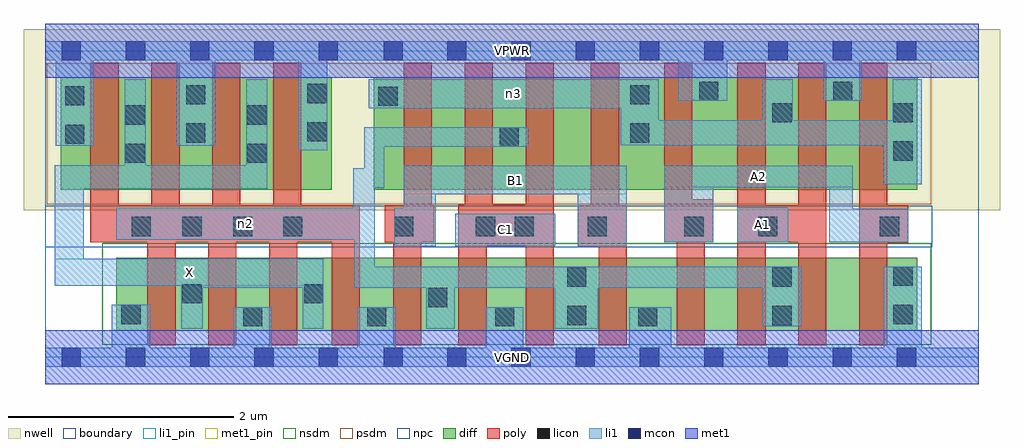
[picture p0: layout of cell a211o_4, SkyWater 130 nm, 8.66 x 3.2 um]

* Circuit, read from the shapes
.subckt a211o_4 A1 A2 B1 C1 VGND VPWR X n2 n3
XM1 X n2 VGND VSUBS sky130_fd_pr__nfet_01v8 w=0.65 l=0.25 m=4
XM2 n2 B1 VGND VSUBS sky130_fd_pr__nfet_01v8 w=0.65 l=0.25 m=2
XM3 VGND C1 n2 VSUBS sky130_fd_pr__nfet_01v8 w=0.65 l=0.25 m=2
XM4 n1 A2 VGND VSUBS sky130_fd_pr__nfet_01v8 w=0.65 l=0.25
XM5 n2 A1 n1 VSUBS sky130_fd_pr__nfet_01v8 w=0.65 l=0.25
XM6 n4 A1 n2 VSUBS sky130_fd_pr__nfet_01v8 w=0.65 l=0.25
XM7 VGND A2 n4 VSUBS sky130_fd_pr__nfet_01v8 w=0.65 l=0.25
XM8 X n2 VPWR n5 sky130_fd_pr__pfet_01v8 w=1 l=0.25 m=4
XM9 n6 B1 n3 n5 sky130_fd_pr__pfet_01v8 w=1 l=0.25
XM10 n2 C1 n6 n5 sky130_fd_pr__pfet_01v8 w=1 l=0.25
XM11 n7 C1 n2 n5 sky130_fd_pr__pfet_01v8 w=1 l=0.25
XM12 n3 B1 n7 n5 sky130_fd_pr__pfet_01v8 w=1 l=0.25
XM13 VPWR A2 n3 n5 sky130_fd_pr__pfet_01v8 w=1 l=0.25 m=2
XM14 n3 A1 VPWR n5 sky130_fd_pr__pfet_01v8 w=1 l=0.25 m=2
.ends

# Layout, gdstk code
import gdstk
lib = gdstk.Library(unit=1e-6, precision=1e-09)
def R(c, l, rs):  # rectangles x0, y0, x1, y1
    for r in rs: c.add(gdstk.rectangle(r[:2], r[2:], *l))
def A(c, l, x, y, w, h, nx, ny, dx, dy):  # array of equal rectangles
    R(c, l, [(x+i*dx, y+j*dy, x+i*dx+w, y+j*dy+h) for i in range(nx) for j in range(ny)])
nwell = (64, 20)
diff = (65, 20)
poly = (66, 20)
licon = (66, 44)
li1_pin = (67, 16)
li1 = (67, 20)
mcon = (67, 44)
met1_pin = (68, 16)
met1 = (68, 20)
nsdm = (93, 44)
psdm = (94, 20)
npc = (95, 20)
boundary = (235, 4)

a211o_4 = lib.new_cell('a211o_4')
R(a211o_4, nwell, [(-0.19,1.305,8.47,2.91), (0,1.305,8.28,2.91)])
R(a211o_4, diff, [(0.63,0.235,7.735,0.885), (0.135,1.485,2.54,2.485), (2.915,1.485,7.735,2.485)])
A(a211o_4, poly, 0.905, 0.105, 0.25, 1.245, 3, 1, 0.54, 0)
A(a211o_4, poly, 6.14, 0.105, 0.25, 2.51, 3, 1, 0.54, 0)
A(a211o_4, poly, 0.4, 1.02, 0.25, 1.595, 4, 1, 0.54, 0)
R(a211o_4, poly, [(2.54,0.105,2.79,1.35), (3.085,0.105,3.335,1.35), (3.665,0.105,3.915,1.355), (4.26,0.105,4.51,2.615), (4.91,0.105,5.16,1.35), (5.6,0.105,5.85,1.4), (4.725,0.985,5.16,1.35), (4.84,0.985,5.09,2.615), (3.665,0.99,4.51,1.355), (3.72,0.99,3.97,2.615), (7.22,1.01,7.655,1.35), (0.4,1.02,2.79,1.35), (3.01,1.02,3.45,1.35), (3.18,1.02,3.43,2.615), (5.49,1.02,5.74,2.615), (5.49,1.02,5.925,1.4), (6.14,1.02,6.93,1.35)])
A(a211o_4, licon, 0.765, 1.075, 0.17, 0.17, 3, 1, 0.45, 0)
R(a211o_4, licon, [(1.755,0.275,1.925,0.445), (2.855,0.275,3.025,0.445), (3.99,0.275,4.16,0.445), (5.26,0.275,5.43,0.445), (4.63,0.285,4.8,0.455), (6.45,0.285,6.62,0.455), (0.675,0.295,0.845,0.465), (7.525,0.295,7.695,0.465), (3.395,0.445,3.565,0.615), (1.215,0.48,1.385,0.65), (2.295,0.48,2.465,0.65), (4.63,0.625,4.8,0.795), (6.45,0.625,6.62,0.795), (7.525,0.635,7.695,0.805), (2.11,1.075,2.28,1.245), (3.095,1.075,3.265,1.245), (3.82,1.075,3.99,1.245), (4.165,1.075,4.335,1.245), (4.81,1.075,4.98,1.245), (5.67,1.075,5.84,1.245), (6.325,1.075,6.495,1.245), (7.405,1.075,7.575,1.245), (0.71,1.725,0.88,1.895), (1.79,1.725,1.96,1.895), (7.525,1.745,7.695,1.915), (4.03,1.87,4.2,2.04), (0.175,1.895,0.345,2.065), (1.25,1.905,1.42,2.075), (5.19,1.905,5.36,2.075), (2.325,1.915,2.495,2.085), (0.71,2.065,0.88,2.235), (1.79,2.065,1.96,2.235), (6.45,2.085,6.62,2.255), (7.525,2.085,7.695,2.255), (2.955,2.23,3.125,2.4), (0.175,2.235,0.345,2.405), (1.25,2.245,1.42,2.415), (5.19,2.245,5.36,2.415), (2.325,2.255,2.495,2.425), (5.8,2.275,5.97,2.445), (6.99,2.275,7.16,2.445)])
R(a211o_4, li1_pin, [(0.085,0.635,2.465,0.875), (3.635,0.985,4.525,1.275), (6.14,1.02,6.59,1.33), (3.18,1.445,5.16,1.7), (5.49,1.51,7.165,1.7)])
R(a211o_4, li1, [(0,-0.085,8.28,0.085), (0.59,-0.085,0.93,0.465), (1.67,-0.085,2.01,0.445), (2.765,-0.085,3.11,0.445), (3.905,-0.085,4.24,0.445), (5.18,-0.085,5.555,0.445), (7.44,-0.085,7.775,0.805), (1.205,0.255,1.395,0.875), (2.285,0.255,2.465,0.875), (3.38,0.255,3.63,0.805), (4.52,0.255,4.905,0.805), (6.365,0.275,6.705,0.805), (1.205,0.615,2.465,0.875), (2.74,0.615,6.705,0.805), (2.74,0.615,2.92,1.675), (0.085,0.635,2.465,0.875), (0.085,0.635,0.34,1.705), (3.095,0.985,3.465,1.325), (3.18,0.985,3.465,1.7), (3.635,0.985,4.525,1.275), (4.725,0.985,5.16,1.7), (5.49,1.02,5.925,1.7), (6.14,1.02,6.59,1.33), (6.955,1.02,7.655,1.32), (6.955,1.02,7.165,1.7), (0.63,1.045,2.92,1.325), (2.73,1.045,2.92,1.675), (3.18,1.445,5.16,1.7), (0.085,1.495,1.97,1.705), (0.705,1.495,0.89,2.465), (1.78,1.495,1.97,2.465), (2.83,1.505,3.005,2.04), (5.49,1.51,7.165,1.7), (7.44,1.535,7.775,2.105), (7.52,1.535,7.775,2.465), (2.245,1.835,2.5,2.805), (2.83,1.87,4.285,2.04), (0.09,1.875,0.43,2.805), (1.165,1.875,1.505,2.805), (5.105,1.88,7.775,2.105), (5.105,1.88,5.44,2.465), (6.365,1.88,6.63,2.465), (2.87,2.21,5.44,2.465), (5.615,2.275,6.05,2.805), (6.905,2.275,7.245,2.805), (0,2.635,8.28,2.805)])
A(a211o_4, mcon, 0.145, -0.085, 0.17, 0.17, 5, 2, 0.57, 2.72)
A(a211o_4, mcon, 3.565, -0.085, 0.17, 0.17, 8, 2, 0.57, 2.72)
R(a211o_4, mcon, [(3,-0.085,3.17,0.085), (3,2.635,3.17,2.805)])
R(a211o_4, met1_pin, [(0,-0.24,8.28,0.24), (0,2.48,8.28,2.96)])
R(a211o_4, met1, [(0,-0.24,8.28,0.24), (0,2.48,8.28,2.96)])
R(a211o_4, nsdm, [(0.505,0.11,7.86,1.01)])
R(a211o_4, psdm, [(0.01,1.36,7.86,2.61)])
R(a211o_4, npc, [(0,0.975,7.87,1.345)])
R(a211o_4, boundary, [(0,0,8.28,2.72)])
a211o_4.add(gdstk.Label('A1', (6.365,1.175), layer=67, texttype=5))
a211o_4.add(gdstk.Label('A2', (6.327,1.605), layer=67, texttype=5))
a211o_4.add(gdstk.Label('B1', (4.17,1.572), layer=67, texttype=5))
a211o_4.add(gdstk.Label('C1', (4.08,1.13), layer=67, texttype=5))
a211o_4.add(gdstk.Label('X', (1.275,0.755), layer=67, texttype=5))
a211o_4.add(gdstk.Label('n2', (1.775,1.185), layer=67, texttype=5))
a211o_4.add(gdstk.Label('n3', (4.155,2.337), layer=67, texttype=5))
a211o_4.add(gdstk.Label('VPWR', (4.14,2.72), layer=68, texttype=5))
a211o_4.add(gdstk.Label('VGND', (4.14,0), layer=68, texttype=5))
a211o_4.add(gdstk.Label('A1', (6.365,1.175), layer=67, texttype=16))
a211o_4.add(gdstk.Label('A2', (6.327,1.605), layer=67, texttype=16))
a211o_4.add(gdstk.Label('B1', (4.17,1.572), layer=67, texttype=16))
a211o_4.add(gdstk.Label('C1', (4.08,1.13), layer=67, texttype=16))
a211o_4.add(gdstk.Label('X', (1.275,0.755), layer=67, texttype=16))
a211o_4.add(gdstk.Label('VPWR', (4.14,2.72), layer=68, texttype=16))
a211o_4.add(gdstk.Label('VGND', (4.14,0), layer=68, texttype=16))

lib.write_gds('a211o_4.gds')
